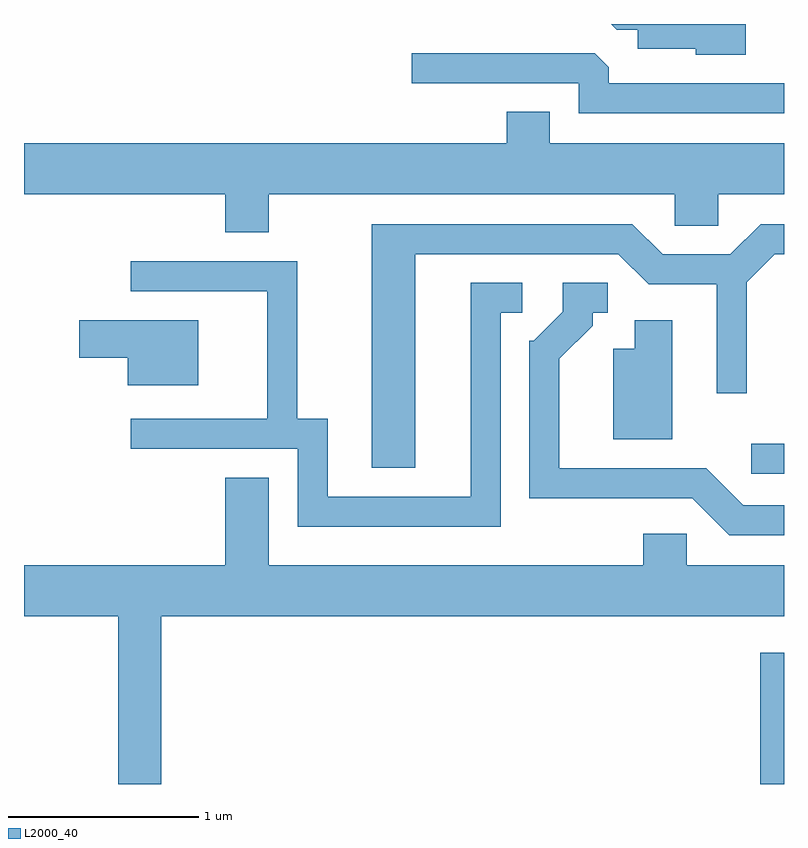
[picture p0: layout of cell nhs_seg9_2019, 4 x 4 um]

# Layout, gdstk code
import gdstk
lib = gdstk.Library(unit=1e-6, precision=1e-09)
def R(c, l, rs):  # rectangles x0, y0, x1, y1
    for r in rs: c.add(gdstk.rectangle(r[:2], r[2:], *l))
def P(c, l, *ps):  # polygons
    for p in ps: c.add(gdstk.Polygon(p, *l))
L2000_40 = (2000, 40)

nhs_seg9_2019 = lib.new_cell('nhs_seg9_2019')
R(nhs_seg9_2019, L2000_40, [(247.486,2046.432,247.611,2047.124), (247.438,2048.066,247.611,2048.224)])
P(nhs_seg9_2019, L2000_40, [(247.409,2050.432),(246.701,2050.432),(246.732,2050.401),(246.841,2050.401),(246.841,2050.301),(247.146,2050.301),(247.146,2050.271),(247.409,2050.271)],
  [(247.611,2050.119),(246.689,2050.119),(246.689,2050.204),(246.614,2050.279),(245.653,2050.279),(245.653,2050.121),(246.531,2050.121),(246.531,2049.961),(247.611,2049.961)],
  [(244.899,2049.536),(247.036,2049.536),(247.036,2049.371),(247.264,2049.371),(247.264,2049.536),(247.611,2049.536),(247.611,2049.804),(246.379,2049.804),(246.379,2049.969),(246.151,2049.969),(246.151,2049.804),(243.611,2049.804),(243.611,2049.536),(244.671,2049.536),(244.671,2049.336),(244.899,2049.336)],
  [(245.669,2049.221),(246.739,2049.221),(246.899,2049.061),(247.256,2049.061),(247.256,2048.488),(247.414,2048.488),(247.414,2049.074),(247.562,2049.221),(247.611,2049.221),(247.611,2049.379),(247.489,2049.379),(247.329,2049.219),(246.972,2049.219),(246.812,2049.379),(245.441,2049.379),(245.441,2048.096),(245.669,2048.096)],
  [(246.119,2048.911),(246.233,2048.911),(246.233,2049.069),(245.961,2049.069),(245.961,2047.944),(245.209,2047.944),(245.209,2048.354),(245.049,2048.354),(245.049,2049.184),(244.173,2049.184),(244.173,2049.026),(244.891,2049.026),(244.891,2048.354),(244.173,2048.354),(244.173,2048.196),(245.051,2048.196),(245.051,2047.786),(246.119,2047.786)],
  [(247.611,2047.899),(247.397,2047.899),(247.202,2048.094),(246.429,2048.094),(246.429,2048.669),(246.604,2048.844),(246.604,2048.911),(246.683,2048.911),(246.683,2049.069),(246.446,2049.069),(246.446,2048.917),(246.294,2048.764),(246.271,2048.764),(246.271,2047.936),(247.129,2047.936),(247.324,2047.741),(247.611,2047.741)],
  [(247.024,2048.874),(246.826,2048.874),(246.826,2048.724),(246.711,2048.724),(246.711,2048.246),(247.024,2048.246)],
  [(244.529,2048.874),(243.901,2048.874),(243.901,2048.676),(244.156,2048.676),(244.156,2048.531),(244.529,2048.531)],
  [(244.334,2047.316),(247.611,2047.316),(247.611,2047.584),(247.099,2047.584),(247.099,2047.749),(246.871,2047.749),(246.871,2047.584),(244.899,2047.584),(244.899,2048.044),(244.671,2048.044),(244.671,2047.584),(243.611,2047.584),(243.611,2047.316),(244.106,2047.316),(244.106,2046.432),(244.334,2046.432)])

lib.write_gds('nhs_seg9_2019.gds')
